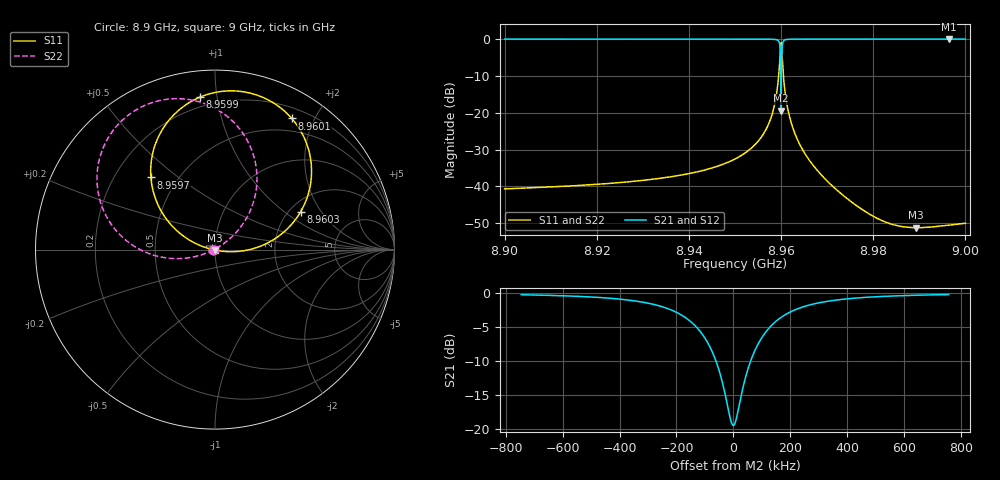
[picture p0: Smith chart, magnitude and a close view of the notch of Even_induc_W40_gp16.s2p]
! Sonnet Data File
! From: emgraph Version : 16.52
! From Project: Resonator2_cp
! Data is De-embedded
! Data File Written: 10/09/2017 00:47:19
!< HDATE 10/08/2017 10:09:33
!< MDATE 10/08/2017 10:09:33
!< PARAMS
!< Length = 400.0
!< Pwid1 = 2000.0
!< Pwid2 = 2000.0
!< Air_gap = 24.0
!< Width = 40.0
!< gap = 16.0
!< END PARAMS
# GHZ S MA R 51.00000
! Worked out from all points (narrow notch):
!   1595 points, 8.9 GHz to 9 GHz, reference 51 ohm
!   highest |S21| = 0.00 dB at 8.9964 GHz (marker M1); lowest = -19.5 dB at 8.96 GHz (marker M2)
!   notch at M2: 19.5 dB deep, 127 kHz wide at half that depth
!   lowest |S11| = -51.2 dB at 8.9892 GHz (marker M3), VSWR 1.01, Z = 50.9 - j0.275 ohm
!   |S11| at or under -10 dB: start of sweep to 8.9595 GHz; 8.960501 GHz to end of sweep
!   |S22| runs from -51.2 to -1.0 dB; largest |S21 - S12| = 0
!   S11 on the Smith chart (normalised r, x): 8.9 GHz: 0.98, -0.00; 8.9597 GHz: 0.35, +0.40; 8.9599 GHz: 0.14, +0.89; 8.9601 GHz: 0.33, +1.70; 8.9603 GHz: 2.29, +1.33; 9 GHz: 1.00, -0.00
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8.9  0.009241 -174.4  1 -81.8  1 -81.8  0.009241 -169.1
!< P1 F=8.9 Eeff=(6.44311882 -2.9701e-5) Z0=(50.4817959 1.16462e-4) R=0.0 C=0.0
!< P2 F=8.9 Eeff=(6.44311882 -2.9701e-5) Z0=(50.4817959 1.16462e-4) R=0.0 C=0.0
8.9167  0.01031 -176.5  0.9999 -82.0  0.9999 -82.0  0.01031 -167.5
8.9334  0.01276 -179.8  0.9999 -82.3  0.9999 -82.3  0.01276 -164.8
8.95  0.02349 173.7  0.9997 -83.0  0.9997 -83.0  0.0235 -159.9
8.957299  0.07034 166.1  0.997 -85.8  0.997 -85.8  0.07038 -158.5
8.959195  0.2171 155.0  0.9707 -94.3  0.9707 -94.3  0.2172 -166.6
8.959496  0.3302 147.1  0.9305 -101.1  0.9305 -101.1  0.3304 -173.9
8.959734  0.5377 131.6  0.802 -114.2  0.802 -114.2  0.5381 171.0
8.959857  0.7314 113.6  0.5821 -128.2  0.5821 -128.2  0.7319 153.1
8.959934  0.8532 95.7  0.3155 -135.8  0.3155 -135.8  0.8537 135.5
8.959995  0.8937 78.3  0.106 -81.6  0.106 -81.6  0.8943 118.1
8.96006  0.8468 59.7  0.3338 -27.9  0.3338 -27.9  0.8474 99.6
8.960137  0.7208 42.0  0.5962 -36.3  0.5962 -36.3  0.7213 82.1
8.960263  0.5225 23.9  0.8129 -50.4  0.8129 -50.4  0.5228 64.2
8.960808  0.2029 0.7  0.9739 -70.1  0.9739 -70.1  0.203 42.1
8.962127  0.07556 -8.9  0.9963 -77.5  0.9963 -77.5  0.07562 35.1
8.966672  0.02035 -18.1  0.9997 -80.7  0.9997 -80.7  0.02038 37.2
8.975047  0.006291 -37.2  1 -81.6  1 -81.6  0.006308 54.3
8.9834  0.003143 -72.5  1 -81.9  1 -81.9  0.003159 88.8
8.9892  0.002744 -100.7  1 -82.1  1 -82.1  0.002757 116.5
8.9964  0.002964 -124.3  1 -82.2  1 -82.2  0.002972 139.8
9  0.003152 -131.6  1 -82.2  1 -82.2  0.003159 146.9
